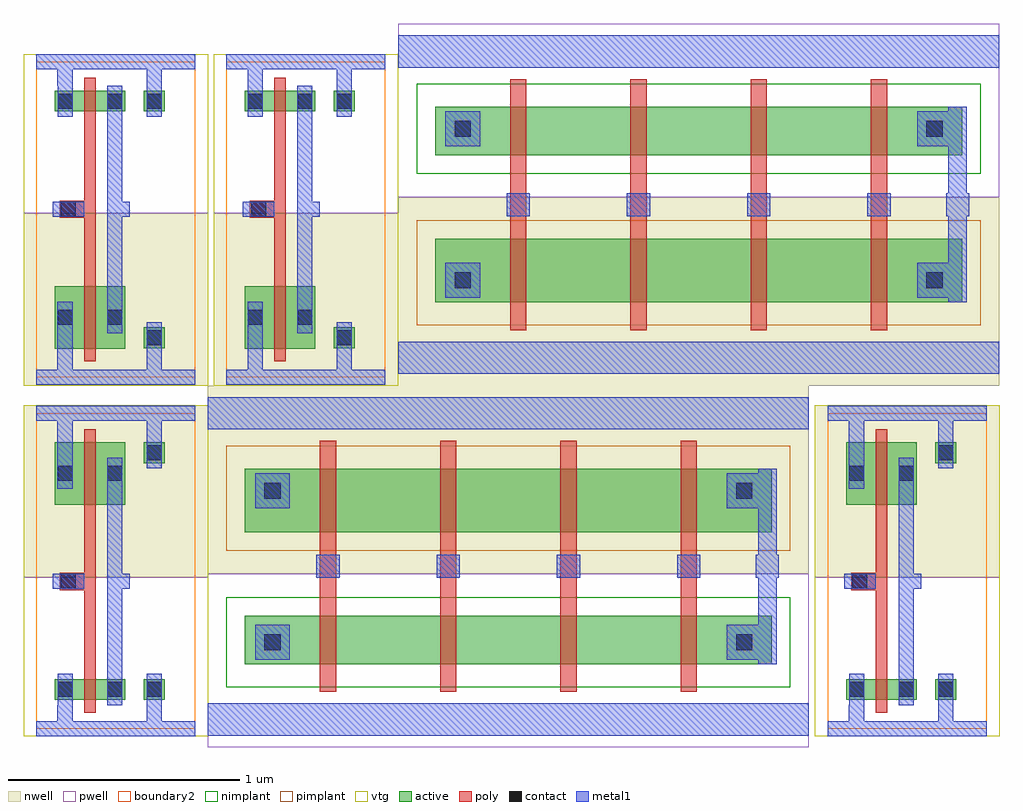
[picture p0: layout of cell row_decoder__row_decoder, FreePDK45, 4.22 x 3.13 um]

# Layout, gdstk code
import gdstk
lib = gdstk.Library(unit=1e-6, precision=1e-09)
def R(c, l, rs):  # rectangles x0, y0, x1, y1
    for r in rs: c.add(gdstk.rectangle(r[:2], r[2:], *l))
def A(c, l, x, y, w, h, nx, ny, dx, dy):  # array of equal rectangles
    R(c, l, [(x+i*dx, y+j*dy, x+i*dx+w, y+j*dy+h) for i in range(nx) for j in range(ny)])
active = (1, 0)
pwell = (2, 0)
nwell = (3, 0)
nimplant = (4, 0)
pimplant = (5, 0)
vtg = (6, 0)
poly = (9, 0)
contact = (10, 0)
metal1 = (11, 0)
boundary2 = (239, 0)

row_decoder__sram_1rw_32 = lib.new_cell('row_decoder__sram_1rw_32x16_freepdk45_contact_11')
R(row_decoder__sram_1rw_32, active, [(0,0.022,0.09,0.112)])
R(row_decoder__sram_1rw_32, nwell, [(-0.055,-0.033,0.145,0.168)])
R(row_decoder__sram_1rw_32, pimplant, [(0,0.022,0.09,0.112)])
R(row_decoder__sram_1rw_32, contact, [(0.013,0.035,0.077,0.1)])
R(row_decoder__sram_1rw_32, metal1, [(0.013,0,0.077,0.135)])
R(row_decoder__sram_1rw_32, boundary2, [(-0.055,-0.033,0.145,0.168)])

c_row_decoder__sram_1rw_32 = lib.new_cell('row_decoder__sram_1rw_32x16_freepdk45_pmos_m1_w0_270_sm1_dm1_da_p')
R(c_row_decoder__sram_1rw_32, active, [(0,0,0.305,0.27)])
R(c_row_decoder__sram_1rw_32, nwell, [(-0.08,-0.08,0.385,0.35)])
R(c_row_decoder__sram_1rw_32, pimplant, [(0,0,0.305,0.27)])
R(c_row_decoder__sram_1rw_32, vtg, [(-0.08,-0.08,0.385,0.35)])
R(c_row_decoder__sram_1rw_32, poly, [(0.127,-0.055,0.177,0.325), (0.127,-0.055,0.177,0.325)])
R(c_row_decoder__sram_1rw_32, metal1, [(0.013,0.068,0.077,0.203), (0.227,0.068,0.292,0.203)])
R(c_row_decoder__sram_1rw_32, boundary2, [(-0.08,-0.08,0.385,0.35)])
c_row_decoder__sram_1rw_32.add(gdstk.Reference(row_decoder__sram_1rw_32, (0,0.068)))
c_row_decoder__sram_1rw_32.add(gdstk.Reference(row_decoder__sram_1rw_32, (0.215,0.068)))
c_row_decoder__sram_1rw_32.add(gdstk.Label('G', (0.152,0.135), layer=9, texttype=0))
c_row_decoder__sram_1rw_32.add(gdstk.Label('S', (0.045,0.135), layer=11, texttype=0))
c_row_decoder__sram_1rw_32.add(gdstk.Label('D', (0.26,0.135), layer=11, texttype=0))

c_row_decoder__sram_1rw_32_ = lib.new_cell('row_decoder__sram_1rw_32x16_freepdk45_contact_10')
R(c_row_decoder__sram_1rw_32_, active, [(0,0.022,0.09,0.112)])
R(c_row_decoder__sram_1rw_32_, pwell, [(-0.055,-0.033,0.145,0.168)])
R(c_row_decoder__sram_1rw_32_, nimplant, [(0,0.022,0.09,0.112)])
R(c_row_decoder__sram_1rw_32_, contact, [(0.013,0.035,0.077,0.1)])
R(c_row_decoder__sram_1rw_32_, metal1, [(0.013,0,0.077,0.135)])
R(c_row_decoder__sram_1rw_32_, boundary2, [(-0.055,-0.033,0.145,0.168)])

c_row_decoder__sram_1rw_32__ = lib.new_cell('row_decoder__sram_1rw_32x16_freepdk45_nmos_m1_w0_090_sm1_dm1_da_p')
R(c_row_decoder__sram_1rw_32__, active, [(0,0,0.305,0.09)])
R(c_row_decoder__sram_1rw_32__, pwell, [(-0.08,-0.08,0.385,0.17)])
R(c_row_decoder__sram_1rw_32__, nimplant, [(0,0,0.305,0.09)])
R(c_row_decoder__sram_1rw_32__, vtg, [(-0.08,-0.08,0.385,0.17)])
R(c_row_decoder__sram_1rw_32__, poly, [(0.127,-0.055,0.177,0.145), (0.127,-0.055,0.177,0.145)])
R(c_row_decoder__sram_1rw_32__, metal1, [(0.013,-0.022,0.077,0.112), (0.227,-0.022,0.292,0.112)])
R(c_row_decoder__sram_1rw_32__, boundary2, [(-0.08,-0.08,0.385,0.17)])
c_row_decoder__sram_1rw_32__.add(gdstk.Reference(c_row_decoder__sram_1rw_32_, (0,-0.022)))
c_row_decoder__sram_1rw_32__.add(gdstk.Reference(c_row_decoder__sram_1rw_32_, (0.215,-0.022)))
c_row_decoder__sram_1rw_32__.add(gdstk.Label('G', (0.152,0.045), layer=9, texttype=0))
c_row_decoder__sram_1rw_32__.add(gdstk.Label('S', (0.045,0.045), layer=11, texttype=0))
c_row_decoder__sram_1rw_32__.add(gdstk.Label('D', (0.26,0.045), layer=11, texttype=0))

c_row_decoder__sram_1rw_32___ = lib.new_cell('row_decoder__sram_1rw_32x16_freepdk45_contact_12')
R(c_row_decoder__sram_1rw_32___, active, [(0,0.022,0.09,0.112)])
R(c_row_decoder__sram_1rw_32___, nwell, [(-0.055,-0.033,0.145,0.168)])
R(c_row_decoder__sram_1rw_32___, nimplant, [(0,0.022,0.09,0.112)])
R(c_row_decoder__sram_1rw_32___, contact, [(0.013,0.035,0.077,0.1)])
R(c_row_decoder__sram_1rw_32___, metal1, [(0.013,0,0.077,0.135)])
R(c_row_decoder__sram_1rw_32___, boundary2, [(-0.055,-0.033,0.145,0.168)])

c_row_decoder__sram_1rw_32____ = lib.new_cell('row_decoder__sram_1rw_32x16_freepdk45_contact_13')
R(c_row_decoder__sram_1rw_32____, active, [(0,0.022,0.09,0.112)])
R(c_row_decoder__sram_1rw_32____, pwell, [(-0.055,-0.033,0.145,0.168)])
R(c_row_decoder__sram_1rw_32____, pimplant, [(0,0.022,0.09,0.112)])
R(c_row_decoder__sram_1rw_32____, contact, [(0.013,0.035,0.077,0.1)])
R(c_row_decoder__sram_1rw_32____, metal1, [(0.013,0,0.077,0.135)])
R(c_row_decoder__sram_1rw_32____, boundary2, [(-0.055,-0.033,0.145,0.168)])

c_row_decoder__sram_1rw_32_____ = lib.new_cell('row_decoder__sram_1rw_32x16_freepdk45_contact_14')
R(c_row_decoder__sram_1rw_32_____, poly, [(0.03,0,0.105,0.075)])
R(c_row_decoder__sram_1rw_32_____, contact, [(0.035,0.005,0.1,0.07)])
R(c_row_decoder__sram_1rw_32_____, metal1, [(0,0.005,0.135,0.07)])
R(c_row_decoder__sram_1rw_32_____, boundary2, [(0,0,0.135,0.075)])

row_decoder__gen_inv = lib.new_cell('row_decoder__gen_inv')
R(row_decoder__gen_inv, pwell, [(-0.055,-0.033,0.743,0.655)])
R(row_decoder__gen_inv, nwell, [(-0.055,0.655,0.743,1.4)])
R(row_decoder__gen_inv, vtg, [(-0.055,-0.033,0.743,0.655), (-0.055,0.655,0.743,1.4)])
R(row_decoder__gen_inv, poly, [(0.208,0.27,0.258,0.915), (0.14,0.6,0.208,0.675)])
R(row_decoder__gen_inv, metal1, [(0,-0.033,0.687,0.033), (0.092,-0.033,0.157,0.103), (0.478,0,0.542,0.17), (0.307,0.103,0.372,1.173), (0.072,0.605,0.208,0.67), (0.34,0.605,0.405,0.67), (0.092,1.038,0.157,1.397), (0.478,1.195,0.542,1.365), (0,1.332,0.687,1.397)])
R(row_decoder__gen_inv, boundary2, [(0,0,0.687,1.365), (0,0,0.687,1.365)])
row_decoder__gen_inv.add(gdstk.Reference(c_row_decoder__sram_1rw_32, (0.08,0.97)))
row_decoder__gen_inv.add(gdstk.Reference(c_row_decoder__sram_1rw_32__, (0.08,0.125)))
row_decoder__gen_inv.add(gdstk.Reference(c_row_decoder__sram_1rw_32___, (0.465,1.127)))
row_decoder__gen_inv.add(gdstk.Reference(c_row_decoder__sram_1rw_32____, (0.465,0.103)))
row_decoder__gen_inv.add(gdstk.Reference(c_row_decoder__sram_1rw_32_____, (0.072,0.6)))
row_decoder__gen_inv.add(gdstk.Label('A', (0.14,0.638), layer=11, texttype=0))
row_decoder__gen_inv.add(gdstk.Label('Z', (0.372,0.638), layer=11, texttype=0))
row_decoder__gen_inv.add(gdstk.Label('gnd', (0.345,0), layer=11, texttype=0))
row_decoder__gen_inv.add(gdstk.Label('vdd', (0.345,1.365), layer=11, texttype=0))

row_decoder__gen_nand4 = lib.new_cell('row_decoder__gen_nand4')
R(row_decoder__gen_nand4, active, [(0.16,0.36,2.44,0.57), (0.16,0.93,2.44,1.205)])
R(row_decoder__gen_nand4, pwell, [(0,0,2.6,0.75)])
R(row_decoder__gen_nand4, nwell, [(0,0.75,2.6,1.565)])
R(row_decoder__gen_nand4, nimplant, [(0.08,0.26,2.52,0.65)])
R(row_decoder__gen_nand4, pimplant, [(0.08,0.85,2.52,1.305)])
A(row_decoder__gen_nand4, poly, 0.485, 0.24, 0.07, 1.085, 4, 1, 0.52, 0)
R(row_decoder__gen_nand4, contact, [(0.245,0.42,0.315,0.49), (2.285,0.42,2.355,0.49), (0.245,1.075,0.315,1.145), (2.285,1.075,2.355,1.145)])
A(row_decoder__gen_nand4, metal1, 0.47, 0.733, 0.1, 0.099, 4, 1, 0.52, 0)
R(row_decoder__gen_nand4, metal1, [(0,0.05,2.6,0.19), (1.25,0.07,1.35,0.17), (2.38,0.36,2.46,1.205), (0.205,0.38,0.355,0.53), (2.245,0.38,2.395,0.53), (2.37,0.733,2.47,0.832), (0.205,1.035,0.355,1.185), (2.245,1.035,2.395,1.185), (0,1.375,2.6,1.515), (1.25,1.395,1.35,1.495)])

row_decoder__row_decoder = lib.new_cell('row_decoder__row_decoder')
row_decoder__row_decoder.add(gdstk.Reference(row_decoder__gen_inv, (0.08,0.08)))
row_decoder__row_decoder.add(gdstk.Reference(row_decoder__gen_nand4, (0.822,0)))
row_decoder__row_decoder.add(gdstk.Reference(row_decoder__gen_inv, (3.503,0.08)))
row_decoder__row_decoder.add(gdstk.Reference(row_decoder__gen_inv, (0.08,2.965), x_reflection=True))
row_decoder__row_decoder.add(gdstk.Reference(row_decoder__gen_inv, (0.902,2.965), x_reflection=True))
row_decoder__row_decoder.add(gdstk.Reference(row_decoder__gen_nand4, (1.645,3.13), x_reflection=True))

lib.write_gds('row_decoder__row_decoder.gds')
